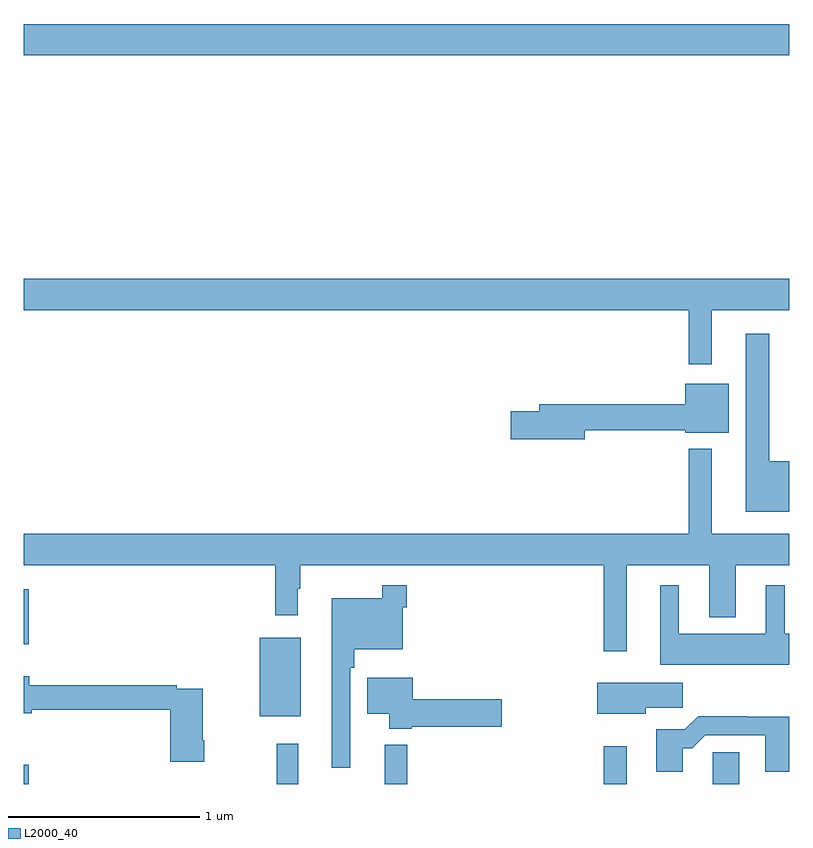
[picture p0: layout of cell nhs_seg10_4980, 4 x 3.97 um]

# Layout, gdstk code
import gdstk
lib = gdstk.Library(unit=1e-6, precision=1e-09)
def R(c, l, rs):  # rectangles x0, y0, x1, y1
    for r in rs: c.add(gdstk.rectangle(r[:2], r[2:], *l))
def P(c, l, *ps):  # polygons
    for p in ps: c.add(gdstk.Polygon(p, *l))
L2000_40 = (2000, 40)

nhs_seg10_4980 = lib.new_cell('nhs_seg10_4980')
R(nhs_seg10_4980, L2000_40, [(399,1304.5,399.026,1304.6), (400.323,1304.5,400.433,1304.71), (400.886,1304.5,401.003,1304.704), (402.03,1304.5,402.151,1304.698), (402.6,1304.5,402.739,1304.666), (400.232,1304.855,400.447,1305.265), (399,1305.23,399.026,1305.517), (399,1308.308,403,1308.472)])
P(nhs_seg10_4980, L2000_40, [(402.595,1306.976),(403,1306.976),(403,1307.14),(399,1307.14),(399,1306.976),(402.474,1306.976),(402.474,1306.695),(402.595,1306.695)],
  [(403,1306.186),(402.895,1306.186),(402.895,1306.852),(402.773,1306.852),(402.773,1305.923),(403,1305.923)],
  [(401.932,1306.348),(402.458,1306.348),(402.458,1306.337),(402.685,1306.337),(402.685,1306.591),(402.458,1306.591),(402.458,1306.484),(401.693,1306.484),(401.693,1306.448),(401.544,1306.448),(401.544,1306.301),(401.932,1306.301)],
  [(402.151,1305.644),(402.581,1305.644),(402.581,1305.371),(402.721,1305.371),(402.721,1305.644),(403,1305.644),(403,1305.808),(402.595,1305.808),(402.595,1306.252),(402.474,1306.252),(402.474,1305.808),(399,1305.808),(399,1305.644),(400.315,1305.644),(400.315,1305.381),(400.432,1305.381),(400.432,1305.521),(400.444,1305.521),(400.444,1305.644),(402.03,1305.644),(402.03,1305.195),(402.151,1305.195)],
  [(400.707,1305.107),(400.727,1305.107),(400.727,1305.203),(400.98,1305.203),(400.98,1305.425),(401,1305.425),(401,1305.538),(400.872,1305.538),(400.872,1305.472),(400.61,1305.472),(400.61,1304.586),(400.707,1304.586)],
  [(403,1305.286),(402.976,1305.286),(402.976,1305.538),(402.878,1305.538),(402.878,1305.286),(402.424,1305.286),(402.424,1305.538),(402.326,1305.538),(402.326,1305.122),(403,1305.122)],
  [(399.942,1304.728),(399.934,1304.728),(399.934,1304.997),(399.8,1304.997),(399.8,1305.017),(399.028,1305.017),(399.028,1305.064),(399,1305.064),(399,1304.87),(399.041,1304.87),(399.041,1304.889),(399.764,1304.889),(399.764,1304.616),(399.942,1304.616)],
  [(401.028,1304.8),(401.497,1304.8),(401.497,1304.942),(401.032,1304.942),(401.032,1305.055),(400.796,1305.055),(400.796,1304.867),(400.91,1304.867),(400.91,1304.789),(401.028,1304.789)],
  [(402.25,1304.899),(402.445,1304.899),(402.445,1305.028),(401.996,1305.028),(401.996,1304.867),(402.25,1304.867)],
  [(402.445,1304.687),(402.494,1304.687),(402.561,1304.754),(402.875,1304.754),(402.875,1304.565),(403,1304.565),(403,1304.852),(402.779,1304.852),(402.779,1304.855),(402.524,1304.855),(402.454,1304.785),(402.305,1304.785),(402.305,1304.565),(402.445,1304.565)])

lib.write_gds('nhs_seg10_4980.gds')
